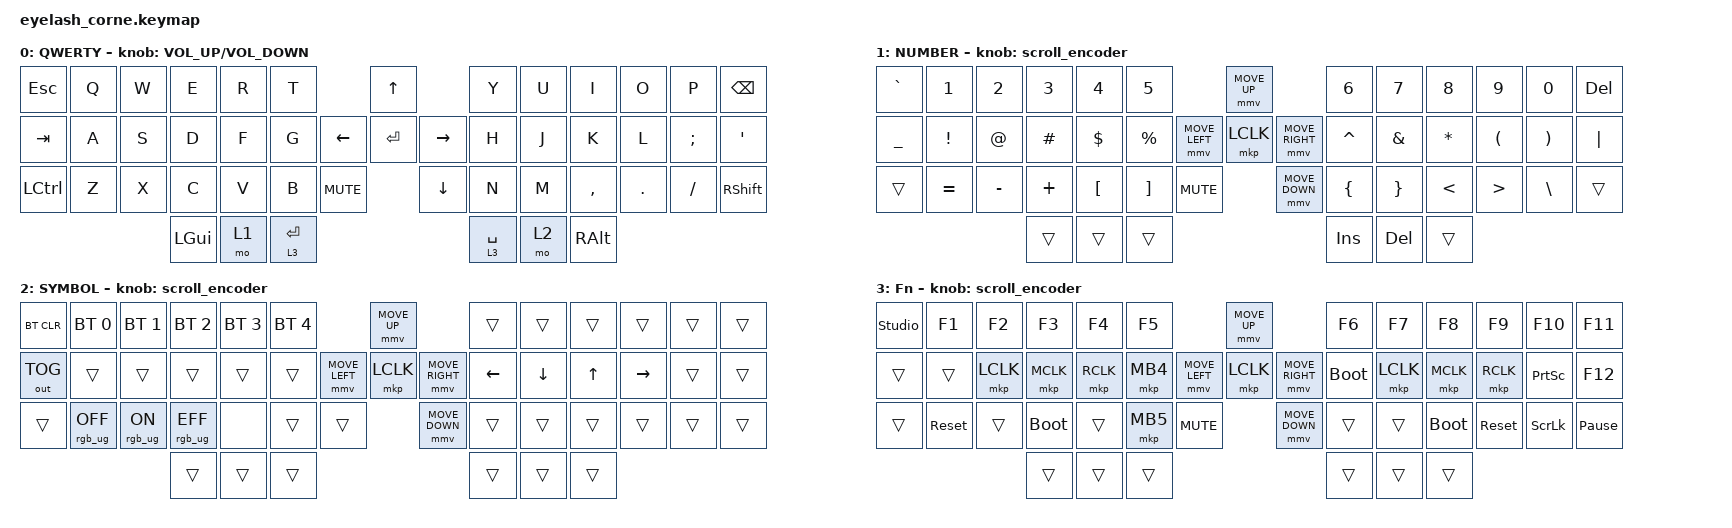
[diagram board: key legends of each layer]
#define ZMK_POINTING_DEFAULT_MOVE_VAL 1200  // 600
#define ZMK_POINTING_DEFAULT_SCRL_VAL 25   // 10

#include <input/processors.dtsi>
#include <zephyr/dt-bindings/input/input-event-codes.h>
#include <behaviors.dtsi>
#include <dt-bindings/zmk/bt.h>
#include <dt-bindings/zmk/keys.h>
#include <dt-bindings/zmk/outputs.h>
#include <dt-bindings/zmk/pointing.h>
#include <dt-bindings/zmk/rgb.h>

&mmv_input_listener { input-processors = <&zip_xy_scaler 2 1>; };

&msc_input_listener { input-processors = <&zip_scroll_scaler 2 1>; };

&msc {
    acceleration-exponent = <1>;      // 0
    time-to-max-speed-ms = <100>;       // 300
    delay-ms = <0>;                   // 0
};

&mmv {
    time-to-max-speed-ms = <500>;
    acceleration-exponent = <1>;
    trigger-period-ms = <16>;
};

&soft_off { hold-time-ms = <2000>; };

/ {
    behaviors {
        td0: td0 {
            compatible = "zmk,behavior-tap-dance";
            display-name = "Shift/Caps Lock Tap Dance";
            #binding-cells = <0>;
            bindings = <&kp LEFT_SHIFT>, <&kp CAPS>;
        };
    };

    rgb_encoder: rgb_encoder {
        compatible = "zmk,behavior-sensor-rotate";
        #sensor-binding-cells = <0>;
        bindings = <&rgb_ug RGB_BRI>, <&rgb_ug RGB_BRD>;
    };

    scroll_encoder: scroll_encoder {
        compatible = "zmk,behavior-sensor-rotate";
        #sensor-binding-cells = <0>;
        bindings = <&msc SCRL_DOWN>, <&msc SCRL_UP>;

        tap-ms = <100>;
    };

    combos {
        compatible = "zmk,combos";

        softoff {
            bindings = <&soft_off>;
            key-positions = <1 15 29>;
        };
    };

    keymap {
        compatible = "zmk,keymap";

        default_layer {
            display-name = "QWERTY";
            bindings = <
&kp ESCAPE  &kp Q  &kp W  &kp E     &kp R  &kp T                                 &kp UP                &kp Y        &kp U  &kp I      &kp O    &kp P     &kp BSPC
&kp TAB     &kp A  &kp S  &kp D     &kp F  &kp G                       &kp LEFT  &kp ENTER  &kp RIGHT  &kp H        &kp J  &kp K      &kp L    &kp SEMI  &kp SQT
&kp LCTRL   &kp Z  &kp X  &kp C     &kp V  &kp B         &kp K_MUTE              &kp DOWN              &kp N        &kp M  &kp COMMA  &kp DOT  &kp FSLH  &kp RIGHT_SHIFT
                          &kp LGUI  &mo 1  &lt 3 RETURN                                                &lt 3 SPACE  &mo 2  &kp RALT
            >;

            sensor-bindings = <&inc_dec_kp C_VOLUME_UP C_VOLUME_DOWN>;
        };

        lower_layer {
            display-name = "NUMBER";
            bindings = <
&kp GRAVE       &kp N1           &kp N2       &kp N3    &kp N4            &kp N5                                           &mmv MOVE_UP                     &kp N6          &kp N7           &kp N8         &kp N9                &kp N0                 &kp DEL
&kp UNDERSCORE  &kp EXCLAMATION  &kp AT_SIGN  &kp HASH  &kp DOLLAR        &kp PERCENT                      &mmv MOVE_LEFT  &mkp LCLK       &mmv MOVE_RIGHT  &kp CARET       &kp AMPERSAND    &kp ASTERISK   &kp LEFT_PARENTHESIS  &kp RIGHT_PARENTHESIS  &kp PIPE
&trans          &kp EQUAL        &kp MINUS    &kp PLUS  &kp LEFT_BRACKET  &kp RIGHT_BRACKET  &kp C_MUTE                    &mmv MOVE_DOWN                   &kp LEFT_BRACE  &kp RIGHT_BRACE  &kp LESS_THAN  &kp GREATER_THAN      &kp BACKSLASH          &trans
                                              &trans    &trans            &trans                                                                            &kp INS         &kp DEL          &trans
            >;

            sensor-bindings = <&scroll_encoder>;
        };

        raise_layer {
            display-name = "SYMBOL";
            bindings = <
&bt BT_CLR    &bt BT_SEL 0     &bt BT_SEL 1    &bt BT_SEL 2     &bt BT_SEL 3  &bt BT_SEL 4                            &mmv MOVE_UP                     &trans          &trans          &trans        &trans           &trans  &trans
&out OUT_TOG  &trans           &trans          &trans           &trans        &trans                  &mmv MOVE_LEFT  &mkp LCLK       &mmv MOVE_RIGHT  &kp LEFT_ARROW  &kp DOWN_ARROW  &kp UP_ARROW  &kp RIGHT_ARROW  &trans  &trans
&trans        &rgb_ug RGB_OFF  &rgb_ug RGB_ON  &rgb_ug RGB_EFF  &none         &trans        &trans                    &mmv MOVE_DOWN                   &trans          &trans          &trans        &trans           &trans  &trans
                                               &trans           &trans        &trans                                                                   &trans          &trans          &trans
            >;

            sensor-bindings = <&scroll_encoder>;
        };

        layer_3 {
            display-name = "Fn";
            bindings = <
&studio_unlock  &kp F1      &kp F2     &kp F3       &kp F4     &kp F5                                  &mmv MOVE_UP                     &kp F6       &kp F7     &kp F8       &kp F9      &kp F10          &kp F11
&trans          &trans      &mkp LCLK  &mkp MCLK    &mkp RCLK  &mkp MB4                &mmv MOVE_LEFT  &mkp LCLK       &mmv MOVE_RIGHT  &bootloader  &mkp LCLK  &mkp MCLK    &mkp RCLK   &kp PRINTSCREEN  &kp F12
&trans          &sys_reset  &trans     &bootloader  &trans     &mkp MB5  &kp C_MUTE                    &mmv MOVE_DOWN                   &trans       &trans     &bootloader  &sys_reset  &kp SCROLLLOCK   &kp PAUSE_BREAK
                                       &trans       &trans     &trans                                                                   &trans       &trans     &trans
            >;

            sensor-bindings = <&scroll_encoder>;
        };
    };
};
